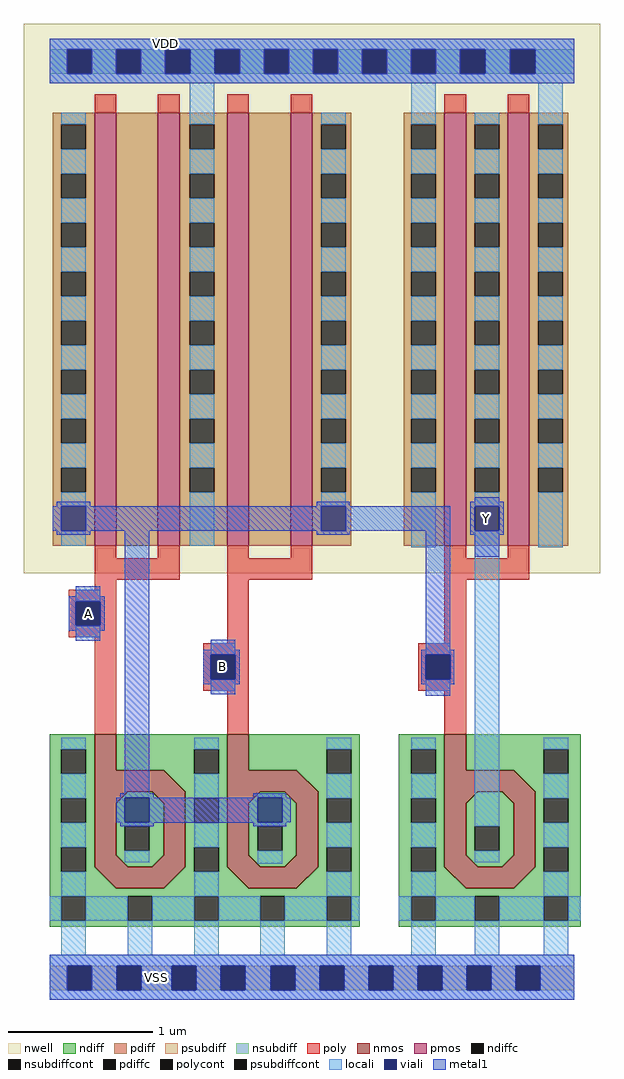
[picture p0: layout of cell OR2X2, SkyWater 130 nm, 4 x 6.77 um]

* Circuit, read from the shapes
.subckt OR2X2 A B VDD VSS Y
XM1 VSS A n1 VSS sky130_fd_pr__nfet_01v8 w=2.475 l=0.1489
XM2 VSS B n1 VSS sky130_fd_pr__nfet_01v8 w=2.475 l=0.1507
XM3 VSS n1 Y VSS sky130_fd_pr__nfet_01v8 w=2.475 l=0.1453
XM4 n2 A n1 VDD sky130_fd_pr__pfet_01v8 w=3 l=0.15
XM5 VDD A n2 VDD sky130_fd_pr__pfet_01v8 w=3 l=0.15
XM6 n3 B VDD VDD sky130_fd_pr__pfet_01v8 w=3 l=0.15
XM7 n1 B n3 VDD sky130_fd_pr__pfet_01v8 w=3 l=0.15
XM8 Y n1 VDD VDD sky130_fd_pr__pfet_01v8 w=3 l=0.15 m=2
.ends

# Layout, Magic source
magic
tech sky130A
magscale 1 2
<< nwell >>
rect 0 591 799 1353
<< nmos >>
rect 98 318 128 368
rect 98 288 194 318
tri 194 288 224 318 sw
rect 282 318 312 368
rect 98 184 128 288
tri 128 272 144 288 nw
tri 178 272 194 288 ne
tri 128 184 144 200 sw
tri 178 184 194 200 se
rect 194 184 224 288
rect 282 288 378 318
tri 378 288 408 318 sw
tri 98 154 128 184 ne
rect 128 154 194 184
tri 194 154 224 184 nw
rect 282 184 312 288
tri 312 272 328 288 nw
tri 362 272 378 288 ne
tri 312 184 328 200 sw
tri 362 184 378 200 se
rect 378 184 408 288
tri 282 154 312 184 ne
rect 312 154 378 184
tri 378 154 408 184 nw
rect 583 318 613 368
rect 583 288 679 318
tri 679 288 709 318 sw
rect 583 184 613 288
tri 613 272 629 288 nw
tri 663 272 679 288 ne
tri 613 184 629 200 sw
tri 663 184 679 200 se
rect 679 184 709 288
tri 583 154 613 184 ne
rect 613 154 679 184
tri 679 154 709 184 nw
<< pmos >>
rect 98 629 128 1229
rect 186 629 216 1229
rect 282 629 312 1229
rect 370 629 400 1229
rect 583 629 613 1229
rect 671 629 701 1229
<< ndiff >>
rect 36 347 98 368
rect 36 313 52 347
rect 86 313 98 347
rect 128 347 282 368
rect 128 318 236 347
rect 36 279 98 313
tri 194 288 224 318 ne
rect 224 313 236 318
rect 270 313 282 347
rect 312 347 466 368
rect 312 318 420 347
rect 36 245 52 279
rect 86 245 98 279
rect 36 211 98 245
rect 36 177 52 211
rect 86 177 98 211
tri 128 272 144 288 se
rect 144 272 178 288
tri 178 272 194 288 sw
rect 128 240 194 272
rect 128 206 140 240
rect 174 206 194 240
rect 128 200 194 206
tri 128 184 144 200 ne
rect 144 184 178 200
tri 178 184 194 200 nw
rect 224 279 282 313
tri 378 288 408 318 ne
rect 408 313 420 318
rect 454 313 466 347
rect 224 245 236 279
rect 270 245 282 279
rect 224 211 282 245
rect 36 154 98 177
tri 98 154 128 184 sw
tri 194 154 224 184 se
rect 224 177 236 211
rect 270 177 282 211
tri 312 272 328 288 se
rect 328 272 362 288
tri 362 272 378 288 sw
rect 312 240 378 272
rect 312 206 324 240
rect 358 206 378 240
rect 312 200 378 206
tri 312 184 328 200 ne
rect 328 184 362 200
tri 362 184 378 200 nw
rect 408 279 466 313
rect 408 245 420 279
rect 454 245 466 279
rect 408 211 466 245
rect 224 154 282 177
tri 282 154 312 184 sw
tri 378 154 408 184 se
rect 408 177 420 211
rect 454 177 466 211
rect 408 154 466 177
rect 36 143 466 154
rect 36 109 52 143
rect 86 109 144 143
rect 178 109 236 143
rect 270 109 328 143
rect 362 109 420 143
rect 454 109 466 143
rect 36 101 466 109
rect 520 347 583 368
rect 520 313 537 347
rect 571 313 583 347
rect 613 347 772 368
rect 613 318 721 347
rect 520 279 583 313
tri 679 288 709 318 ne
rect 709 313 721 318
rect 755 313 772 347
rect 520 245 537 279
rect 571 245 583 279
rect 520 211 583 245
rect 520 177 537 211
rect 571 177 583 211
tri 613 272 629 288 se
rect 629 272 663 288
tri 663 272 679 288 sw
rect 613 240 679 272
rect 613 206 625 240
rect 659 206 679 240
rect 613 200 679 206
tri 613 184 629 200 ne
rect 629 184 663 200
tri 663 184 679 200 nw
rect 709 279 772 313
rect 709 245 721 279
rect 755 245 772 279
rect 709 211 772 245
rect 520 154 583 177
tri 583 154 613 184 sw
tri 679 154 709 184 se
rect 709 177 721 211
rect 755 177 772 211
rect 709 154 772 177
rect 520 143 772 154
rect 520 109 537 143
rect 571 109 625 143
rect 659 109 721 143
rect 755 109 772 143
rect 520 101 772 109
<< pdiff >>
rect 40 1213 98 1229
rect 40 1179 52 1213
rect 86 1179 98 1213
rect 40 1145 98 1179
rect 40 1111 52 1145
rect 86 1111 98 1145
rect 40 1077 98 1111
rect 40 1043 52 1077
rect 86 1043 98 1077
rect 40 1009 98 1043
rect 40 975 52 1009
rect 86 975 98 1009
rect 40 941 98 975
rect 40 907 52 941
rect 86 907 98 941
rect 40 873 98 907
rect 40 839 52 873
rect 86 839 98 873
rect 40 805 98 839
rect 40 771 52 805
rect 86 771 98 805
rect 40 737 98 771
rect 40 703 52 737
rect 86 703 98 737
rect 40 629 98 703
rect 128 629 186 1229
rect 216 1213 282 1229
rect 216 1179 230 1213
rect 264 1179 282 1213
rect 216 1145 282 1179
rect 216 1111 230 1145
rect 264 1111 282 1145
rect 216 1077 282 1111
rect 216 1043 230 1077
rect 264 1043 282 1077
rect 216 1009 282 1043
rect 216 975 230 1009
rect 264 975 282 1009
rect 216 941 282 975
rect 216 907 230 941
rect 264 907 282 941
rect 216 873 282 907
rect 216 839 230 873
rect 264 839 282 873
rect 216 805 282 839
rect 216 771 230 805
rect 264 771 282 805
rect 216 737 282 771
rect 216 703 230 737
rect 264 703 282 737
rect 216 629 282 703
rect 312 629 370 1229
rect 400 1213 454 1229
rect 400 1179 412 1213
rect 446 1179 454 1213
rect 400 1145 454 1179
rect 400 1111 412 1145
rect 446 1111 454 1145
rect 400 1077 454 1111
rect 400 1043 412 1077
rect 446 1043 454 1077
rect 400 1009 454 1043
rect 400 975 412 1009
rect 446 975 454 1009
rect 400 941 454 975
rect 400 907 412 941
rect 446 907 454 941
rect 400 873 454 907
rect 400 839 412 873
rect 446 839 454 873
rect 400 805 454 839
rect 400 771 412 805
rect 446 771 454 805
rect 400 737 454 771
rect 400 703 412 737
rect 446 703 454 737
rect 400 629 454 703
rect 527 1213 583 1229
rect 527 1179 537 1213
rect 571 1179 583 1213
rect 527 1145 583 1179
rect 527 1111 537 1145
rect 571 1111 583 1145
rect 527 1077 583 1111
rect 527 1043 537 1077
rect 571 1043 583 1077
rect 527 1009 583 1043
rect 527 975 537 1009
rect 571 975 583 1009
rect 527 941 583 975
rect 527 907 537 941
rect 571 907 583 941
rect 527 873 583 907
rect 527 839 537 873
rect 571 839 583 873
rect 527 805 583 839
rect 527 771 537 805
rect 571 771 583 805
rect 527 737 583 771
rect 527 703 537 737
rect 571 703 583 737
rect 527 629 583 703
rect 613 1213 671 1229
rect 613 1179 625 1213
rect 659 1179 671 1213
rect 613 1145 671 1179
rect 613 1111 625 1145
rect 659 1111 671 1145
rect 613 1077 671 1111
rect 613 1043 625 1077
rect 659 1043 671 1077
rect 613 1009 671 1043
rect 613 975 625 1009
rect 659 975 671 1009
rect 613 941 671 975
rect 613 907 625 941
rect 659 907 671 941
rect 613 873 671 907
rect 613 839 625 873
rect 659 839 671 873
rect 613 805 671 839
rect 613 771 625 805
rect 659 771 671 805
rect 613 737 671 771
rect 613 703 625 737
rect 659 703 671 737
rect 613 629 671 703
rect 701 1213 755 1229
rect 701 1179 713 1213
rect 747 1179 755 1213
rect 701 1145 755 1179
rect 701 1111 713 1145
rect 747 1111 755 1145
rect 701 1077 755 1111
rect 701 1043 713 1077
rect 747 1043 755 1077
rect 701 1009 755 1043
rect 701 975 713 1009
rect 747 975 755 1009
rect 701 941 755 975
rect 701 907 713 941
rect 747 907 755 941
rect 701 873 755 907
rect 701 839 713 873
rect 747 839 755 873
rect 701 805 755 839
rect 701 771 713 805
rect 747 771 755 805
rect 701 737 755 771
rect 701 703 713 737
rect 747 703 755 737
rect 701 629 755 703
<< ndiffc >>
rect 52 313 86 347
rect 236 313 270 347
rect 52 245 86 279
rect 52 177 86 211
rect 140 206 174 240
rect 420 313 454 347
rect 236 245 270 279
rect 236 177 270 211
rect 324 206 358 240
rect 420 245 454 279
rect 420 177 454 211
rect 52 109 86 143
rect 144 109 178 143
rect 236 109 270 143
rect 328 109 362 143
rect 420 109 454 143
rect 537 313 571 347
rect 721 313 755 347
rect 537 245 571 279
rect 537 177 571 211
rect 625 206 659 240
rect 721 245 755 279
rect 721 177 755 211
rect 537 109 571 143
rect 625 109 659 143
rect 721 109 755 143
<< pdiffc >>
rect 52 1179 86 1213
rect 52 1111 86 1145
rect 52 1043 86 1077
rect 52 975 86 1009
rect 52 907 86 941
rect 52 839 86 873
rect 52 771 86 805
rect 52 703 86 737
rect 230 1179 264 1213
rect 230 1111 264 1145
rect 230 1043 264 1077
rect 230 975 264 1009
rect 230 907 264 941
rect 230 839 264 873
rect 230 771 264 805
rect 230 703 264 737
rect 412 1179 446 1213
rect 412 1111 446 1145
rect 412 1043 446 1077
rect 412 975 446 1009
rect 412 907 446 941
rect 412 839 446 873
rect 412 771 446 805
rect 412 703 446 737
rect 537 1179 571 1213
rect 537 1111 571 1145
rect 537 1043 571 1077
rect 537 975 571 1009
rect 537 907 571 941
rect 537 839 571 873
rect 537 771 571 805
rect 537 703 571 737
rect 625 1179 659 1213
rect 625 1111 659 1145
rect 625 1043 659 1077
rect 625 975 659 1009
rect 625 907 659 941
rect 625 839 659 873
rect 625 771 659 805
rect 625 703 659 737
rect 713 1179 747 1213
rect 713 1111 747 1145
rect 713 1043 747 1077
rect 713 975 747 1009
rect 713 907 747 941
rect 713 839 747 873
rect 713 771 747 805
rect 713 703 747 737
<< psubdiff >>
rect 36 13 60 47
rect 94 13 129 47
rect 163 13 205 47
rect 239 13 273 47
rect 307 13 342 47
rect 376 13 410 47
rect 444 13 478 47
rect 512 13 546 47
rect 580 13 614 47
rect 648 13 682 47
rect 716 13 763 47
<< nsubdiff >>
rect 36 1283 60 1317
rect 94 1283 128 1317
rect 162 1283 196 1317
rect 231 1283 265 1317
rect 299 1283 333 1317
rect 367 1283 401 1317
rect 435 1283 469 1317
rect 503 1283 537 1317
rect 571 1283 605 1317
rect 640 1283 674 1317
rect 709 1283 763 1317
<< psubdiffcont >>
rect 60 13 94 47
rect 129 13 163 47
rect 205 13 239 47
rect 273 13 307 47
rect 342 13 376 47
rect 410 13 444 47
rect 478 13 512 47
rect 546 13 580 47
rect 614 13 648 47
rect 682 13 716 47
<< nsubdiffcont >>
rect 60 1283 94 1317
rect 128 1283 162 1317
rect 196 1283 231 1317
rect 265 1283 299 1317
rect 333 1283 367 1317
rect 401 1283 435 1317
rect 469 1283 503 1317
rect 537 1283 571 1317
rect 605 1283 640 1317
rect 674 1283 709 1317
<< poly >>
rect 98 1229 128 1255
rect 186 1229 216 1255
rect 282 1229 312 1255
rect 370 1229 400 1255
rect 583 1229 613 1255
rect 671 1229 701 1255
rect 98 612 128 629
rect 186 612 216 629
rect 98 582 216 612
rect 282 612 312 629
rect 370 612 400 629
rect 282 582 400 612
rect 583 612 613 629
rect 671 612 701 629
rect 583 582 701 612
rect 98 568 128 582
rect 62 552 128 568
rect 62 518 72 552
rect 106 518 128 552
rect 62 502 128 518
rect 98 368 128 502
rect 282 494 312 582
rect 583 494 613 582
rect 249 478 312 494
rect 249 444 259 478
rect 293 444 312 478
rect 249 428 312 444
rect 547 478 613 494
rect 547 444 557 478
rect 591 444 613 478
rect 547 428 613 444
rect 282 368 312 428
rect 583 368 613 428
<< polycont >>
rect 72 518 106 552
rect 259 444 293 478
rect 557 444 591 478
<< locali >>
rect 36 1317 763 1332
rect 36 1283 60 1317
rect 94 1283 128 1317
rect 162 1283 196 1317
rect 231 1283 265 1317
rect 299 1283 333 1317
rect 367 1283 401 1317
rect 435 1283 469 1317
rect 503 1283 537 1317
rect 571 1283 605 1317
rect 640 1283 674 1317
rect 709 1283 763 1317
rect 36 1270 763 1283
rect 52 1213 86 1229
rect 52 1145 86 1179
rect 52 1077 86 1111
rect 52 1009 86 1043
rect 52 941 86 975
rect 52 873 86 907
rect 52 805 86 839
rect 52 737 86 771
rect 52 684 86 703
rect 52 629 86 650
rect 230 1213 264 1270
rect 230 1145 264 1179
rect 230 1077 264 1111
rect 230 1009 264 1043
rect 230 941 264 975
rect 230 873 264 907
rect 230 805 264 839
rect 230 737 264 771
rect 230 629 264 703
rect 412 1213 446 1229
rect 412 1145 446 1179
rect 412 1077 446 1111
rect 412 1009 446 1043
rect 412 941 446 975
rect 412 873 446 907
rect 412 805 446 839
rect 412 737 446 771
rect 412 684 446 703
rect 537 1213 571 1270
rect 537 1145 571 1179
rect 537 1077 571 1111
rect 537 1009 571 1043
rect 537 941 571 975
rect 537 873 571 907
rect 537 805 571 839
rect 537 737 571 771
rect 537 627 571 703
rect 625 1213 659 1229
rect 625 1145 659 1179
rect 625 1077 659 1111
rect 625 1009 659 1043
rect 625 941 659 975
rect 625 873 659 907
rect 625 805 659 839
rect 625 737 659 771
rect 625 684 659 703
rect 72 552 106 568
rect 72 502 106 518
rect 259 478 293 494
rect 259 428 293 444
rect 557 478 591 494
rect 557 428 591 444
rect 52 347 86 363
rect 52 279 86 313
rect 236 347 270 363
rect 52 211 86 245
rect 140 240 174 246
rect 140 190 174 206
rect 236 279 270 313
rect 420 347 454 363
rect 236 211 270 245
rect 52 143 86 177
rect 324 280 358 286
rect 324 240 358 246
rect 324 188 358 206
rect 420 279 454 313
rect 420 211 454 245
rect 236 143 270 177
rect 420 143 454 177
rect 537 347 571 363
rect 537 279 571 313
rect 537 211 571 245
rect 625 240 659 650
rect 713 1213 747 1270
rect 713 1145 747 1179
rect 713 1077 747 1111
rect 713 1009 747 1043
rect 713 941 747 975
rect 713 873 747 907
rect 713 805 747 839
rect 713 737 747 771
rect 713 627 747 703
rect 625 190 659 206
rect 721 347 755 363
rect 721 279 755 313
rect 721 211 755 245
rect 537 143 571 177
rect 721 143 755 177
rect 36 109 52 143
rect 86 109 144 143
rect 178 109 236 143
rect 270 109 328 143
rect 362 109 420 143
rect 454 109 466 143
rect 520 109 537 143
rect 571 109 625 143
rect 659 109 721 143
rect 755 109 772 143
rect 52 62 86 109
rect 144 62 178 109
rect 236 62 270 109
rect 328 62 362 109
rect 420 62 454 109
rect 537 62 571 109
rect 625 62 659 109
rect 721 62 755 109
rect 36 47 763 62
rect 36 13 60 47
rect 94 13 129 47
rect 163 13 205 47
rect 239 13 273 47
rect 307 13 342 47
rect 376 13 410 47
rect 444 13 478 47
rect 512 13 546 47
rect 580 13 614 47
rect 648 13 682 47
rect 716 13 763 47
rect 36 0 763 13
<< viali >>
rect 60 1283 94 1317
rect 128 1283 162 1317
rect 196 1283 231 1317
rect 265 1283 299 1317
rect 333 1283 367 1317
rect 401 1283 435 1317
rect 469 1283 503 1317
rect 537 1283 571 1317
rect 605 1283 640 1317
rect 674 1283 709 1317
rect 52 650 86 684
rect 412 650 446 684
rect 625 650 659 684
rect 72 518 106 552
rect 259 444 293 478
rect 557 444 591 478
rect 140 246 174 280
rect 324 246 358 280
rect 60 13 94 47
rect 129 13 163 47
rect 205 13 239 47
rect 273 13 307 47
rect 342 13 376 47
rect 410 13 444 47
rect 478 13 512 47
rect 546 13 580 47
rect 614 13 648 47
rect 682 13 716 47
<< metal1 >>
rect 36 1317 763 1332
rect 36 1283 60 1317
rect 94 1283 128 1317
rect 162 1283 196 1317
rect 231 1283 265 1317
rect 299 1283 333 1317
rect 367 1283 401 1317
rect 435 1283 469 1317
rect 503 1283 537 1317
rect 571 1283 605 1317
rect 640 1283 674 1317
rect 709 1283 763 1317
rect 36 1270 763 1283
rect 625 690 659 696
rect 46 684 92 690
rect 406 684 452 690
rect 619 684 665 690
rect 40 650 52 684
rect 86 650 412 684
rect 446 650 591 684
rect 46 644 92 650
rect 72 559 106 573
rect 62 552 112 559
rect 62 518 72 552
rect 106 518 112 552
rect 62 511 112 518
rect 72 497 106 511
rect 140 286 174 650
rect 406 644 452 650
rect 259 485 293 499
rect 557 485 591 650
rect 619 650 625 684
rect 659 650 665 684
rect 619 644 665 650
rect 625 614 659 644
rect 249 478 299 485
rect 249 444 259 478
rect 293 444 299 478
rect 249 437 299 444
rect 551 478 597 485
rect 551 444 557 478
rect 591 444 597 478
rect 551 437 597 444
rect 259 423 293 437
rect 557 421 591 437
rect 134 280 180 286
rect 318 280 364 286
rect 128 246 140 280
rect 174 246 324 280
rect 358 246 370 280
rect 134 245 364 246
rect 134 240 180 245
rect 318 240 364 245
rect 36 47 763 62
rect 36 13 60 47
rect 94 13 129 47
rect 163 13 205 47
rect 239 13 273 47
rect 307 13 342 47
rect 376 13 410 47
rect 444 13 478 47
rect 512 13 546 47
rect 580 13 614 47
rect 648 13 682 47
rect 716 13 763 47
rect 36 0 763 13
<< labels >>
rlabel metal1 197 1325 197 1325 1 VDD
rlabel metal1 184 31 184 31 1 VSS
rlabel metal1 72 518 106 552 1 A
rlabel metal1 259 444 293 478 1 B
rlabel metal1 625 650 659 684 1 Y
<< end >>
